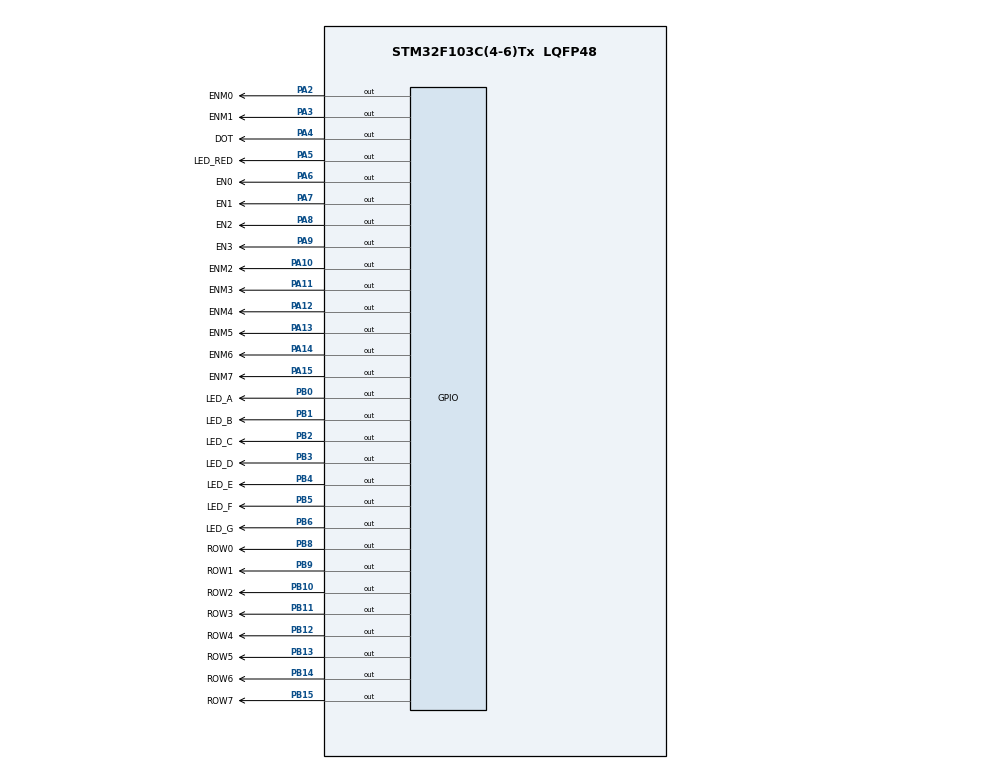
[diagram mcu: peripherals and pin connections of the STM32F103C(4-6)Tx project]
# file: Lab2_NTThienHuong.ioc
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Mcu.Family=STM32F1
Mcu.Name=STM32F103C(4-6)Tx
Mcu.Package=LQFP48
NVIC.PriorityGroup=NVIC_PRIORITYGROUP_4
NVIC.TIM2_IRQn=true\:0\:0\:false\:false\:true\:true\:true\:true
PA10.GPIO_Label=ENM2
PA10.Signal=GPIO_Output
PA11.GPIO_Label=ENM3
PA11.Signal=GPIO_Output
PA12.GPIO_Label=ENM4
PA12.Signal=GPIO_Output
PA13.GPIO_Label=ENM5
PA13.Signal=GPIO_Output
PA14.GPIO_Label=ENM6
PA14.Signal=GPIO_Output
PA15.GPIO_Label=ENM7
PA15.Signal=GPIO_Output
PA2.GPIO_Label=ENM0
PA2.GPIO_PuPd=GPIO_NOPULL
PA2.Signal=GPIO_Output
PA3.GPIO_Label=ENM1
PA3.Signal=GPIO_Output
PA4.GPIO_Label=DOT
PA4.Signal=GPIO_Output
PA5.GPIO_Label=LED_RED
PA5.Signal=GPIO_Output
PA6.GPIO_Label=EN0
PA6.Signal=GPIO_Output
PA7.GPIO_Label=EN1
PA7.Signal=GPIO_Output
PA8.GPIO_Label=EN2
PA8.Signal=GPIO_Output
PA9.GPIO_Label=EN3
PA9.Signal=GPIO_Output
PB0.GPIO_Label=LED_A
PB0.Signal=GPIO_Output
PB1.GPIO_Label=LED_B
PB1.Signal=GPIO_Output
PB10.GPIO_Label=ROW2
PB10.Signal=GPIO_Output
PB11.GPIO_Label=ROW3
PB11.Signal=GPIO_Output
PB12.GPIO_Label=ROW4
PB12.Signal=GPIO_Output
PB13.GPIO_Label=ROW5
PB13.Signal=GPIO_Output
PB14.GPIO_Label=ROW6
PB14.Signal=GPIO_Output
PB15.GPIO_Label=ROW7
PB15.Signal=GPIO_Output
PB2.GPIO_Label=LED_C
PB2.Signal=GPIO_Output
PB3.GPIO_Label=LED_D
PB3.Signal=GPIO_Output
PB4.GPIO_Label=LED_E
PB4.Signal=GPIO_Output
PB5.GPIO_Label=LED_F
PB5.Signal=GPIO_Output
PB6.GPIO_Label=LED_G
PB6.Signal=GPIO_Output
PB8.GPIO_Label=ROW0
PB8.Signal=GPIO_Output
PB9.GPIO_Label=ROW1
PB9.Signal=GPIO_Output
ProjectManager.HeapSize=0x200
ProjectManager.StackSize=0x400
ProjectManager.TargetToolchain=STM32CubeIDE
RCC.APB1Freq_Value=8000000
RCC.APB2Freq_Value=8000000
TIM2.Period=9
TIM2.Prescaler=7999
VP_SYS_VS_ND.Mode=No_Debug
VP_TIM2_VS_ClockSourceINT.Mode=Internal
board=custom

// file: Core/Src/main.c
/* USER CODE BEGIN Header */
/**
  ******************************************************************************
  * @file           : main.c
  * @brief          : Main program body
  ******************************************************************************
  * @attention
  *
  * Copyright (c) 2024 STMicroelectronics.
  * All rights reserved.
  *
  * This software is licensed under terms that can be found in the LICENSE file
  * in the root directory of this software component.
  * If no LICENSE file comes with this software, it is provided AS-IS.
  *
  ******************************************************************************
  */
/* USER CODE END Header */
#include "main.h"

/* USER CODE BEGIN Includes */
#include "software_timer.h"
#include "linkedList.h"
/* USER CODE END Includes */

TIM_HandleTypeDef htim2;
const int MAX_LED = 4;
int index_led = 0;
int led_buffer [4] = {1 , 2 , 3 , 4};
int hour = 15 , minute = 8 , second = 50;

void SystemClock_Config(void);
static void MX_GPIO_Init(void);
static void MX_TIM2_Init(void);
void update7SEG (int index);
void display7SEG(int k);
void updateClockBuffer();
void controlColumns (int value);

/* USER CODE BEGIN 0 */
void update7SEG(int index) {
    static const unsigned char segValues[10] = {
        0b11111100,  // 0
        0b01100000,  // 1
        0b11011010,  // 2
        0b11110010,  // 3
        0b01100110,  // 4
        0b10110110,  // 5
        0b10111110,  // 6
        0b11100000,  // 7
        0b11111110,  // 8
        0b11110110   // 9
    };

    if (index > 3) {
        index_led = 0;
        index = 0;
    }

    controlColumns(index);
    GPIOB->ODR = (GPIOB->ODR & 0xFF00) | segValues[led_buffer[index]];
}
void updateClockBuffer(){
	  second ++;
	  	if ( second >= 60) {
	  		second = 0;
	  		minute++;
	  	}
	  	if (minute >= 60){
	  		minute =0;
	  		hour++;
	  	}
	  	if (hour >= 24){
	  		hour=0;
	  	}

	led_buffer[0] = hour / 10;
	led_buffer[1] =	hour %10;
	led_buffer[2] = minute / 10;
	led_buffer[3] = minute % 10;
}
void display7SEG(int k){
	switch (k){
	case 0:
		  HAL_GPIO_WritePin(GPIOB, LED_A_Pin|LED_B_Pin|LED_C_Pin|LED_D_Pin
		                          |LED_E_Pin|LED_F_Pin|LED_G_Pin, GPIO_PIN_RESET);

		  HAL_GPIO_WritePin(GPIOB, LED_G_Pin, GPIO_PIN_SET);
		break;
	case 1:
		  HAL_GPIO_WritePin(GPIOB, LED_B_Pin|LED_C_Pin, GPIO_PIN_RESET);

		  HAL_GPIO_WritePin(GPIOB, LED_A_Pin|LED_D_Pin
		                          |LED_E_Pin|LED_F_Pin|LED_G_Pin, GPIO_PIN_SET);
		break;
	case 2:
		  HAL_GPIO_WritePin(GPIOB, LED_A_Pin|LED_B_Pin | LED_D_Pin
		                          |LED_E_Pin|LED_G_Pin, GPIO_PIN_RESET);

		  HAL_GPIO_WritePin(GPIOB,LED_C_Pin|LED_F_Pin, GPIO_PIN_SET);
		break;
	case 3:
		  HAL_GPIO_WritePin(GPIOB, LED_A_Pin|LED_B_Pin|LED_C_Pin|LED_D_Pin
		                          |LED_G_Pin, GPIO_PIN_RESET);
		  HAL_GPIO_WritePin(GPIOB, LED_E_Pin|LED_F_Pin, GPIO_PIN_SET);
		break;
	case 4:
		  HAL_GPIO_WritePin(GPIOB, LED_B_Pin|LED_C_Pin |LED_F_Pin|LED_G_Pin, GPIO_PIN_RESET);

		  HAL_GPIO_WritePin(GPIOB, LED_A_Pin|LED_D_Pin|LED_E_Pin, GPIO_PIN_SET);
		break;
	case 5:
		  HAL_GPIO_WritePin(GPIOB, LED_A_Pin|LED_C_Pin|LED_D_Pin
		                          |LED_F_Pin|LED_G_Pin, GPIO_PIN_RESET);

		  HAL_GPIO_WritePin(GPIOB,LED_B_Pin|LED_E_Pin, GPIO_PIN_SET);
		break;
	case 6:
		  HAL_GPIO_WritePin(GPIOB,LED_B_Pin, GPIO_PIN_SET);

		  HAL_GPIO_WritePin(GPIOB, LED_A_Pin|LED_C_Pin|LED_D_Pin
		                          |LED_E_Pin|LED_F_Pin|LED_G_Pin, GPIO_PIN_RESET);

		break;
	case 7:
		  HAL_GPIO_WritePin(GPIOB, LED_A_Pin|LED_B_Pin|LED_C_Pin , GPIO_PIN_RESET);

		  HAL_GPIO_WritePin(GPIOB, LED_D_Pin |LED_E_Pin|LED_F_Pin|LED_G_Pin, GPIO_PIN_SET);
		break;
	case 8:
		  HAL_GPIO_WritePin(GPIOB, LED_A_Pin|LED_B_Pin|LED_C_Pin|LED_D_Pin
		                          |LED_E_Pin|LED_F_Pin|LED_G_Pin, GPIO_PIN_RESET);
		break;
	case 9:
		  HAL_GPIO_WritePin(GPIOB, LED_A_Pin|LED_B_Pin|LED_C_Pin|LED_D_Pin
		                          |LED_E_Pin|LED_F_Pin|LED_G_Pin, GPIO_PIN_RESET);

		  HAL_GPIO_WritePin(GPIOB, LED_E_Pin, GPIO_PIN_SET);
		break;
	default:
		  HAL_GPIO_WritePin(GPIOB, LED_A_Pin|LED_B_Pin|LED_C_Pin|LED_D_Pin
		                          |LED_E_Pin|LED_F_Pin|LED_G_Pin, GPIO_PIN_RESET);
	}
}
void controlColumns (int value){
	switch (value){
		case 0:
			HAL_GPIO_WritePin(GPIOA, ENM0_Pin, GPIO_PIN_SET);
			HAL_GPIO_WritePin(GPIOA, ENM1_Pin|ENM2_Pin|ENM3_Pin|ENM4_Pin|ENM5_Pin
			  	                          |ENM6_Pin|ENM7_Pin, GPIO_PIN_RESET);
			break;
		case 1:
			HAL_GPIO_WritePin(GPIOA, ENM1_Pin, GPIO_PIN_SET);
			HAL_GPIO_WritePin(GPIOA, ENM0_Pin|ENM2_Pin|ENM3_Pin|ENM4_Pin|ENM5_Pin
			  	                          |ENM6_Pin|ENM7_Pin, GPIO_PIN_RESET);
			break;
		case 2:
			HAL_GPIO_WritePin(GPIOA, ENM2_Pin, GPIO_PIN_SET);
			HAL_GPIO_WritePin(GPIOA, ENM0_Pin|ENM1_Pin|ENM3_Pin|ENM4_Pin|ENM5_Pin
			  	                          |ENM6_Pin|ENM7_Pin, GPIO_PIN_RESET);
			break;
		case 3:
			HAL_GPIO_WritePin(GPIOA, ENM3_Pin, GPIO_PIN_SET);
			HAL_GPIO_WritePin(GPIOA, ENM0_Pin|ENM1_Pin|ENM2_Pin|ENM4_Pin|ENM5_Pin
			  	                          |ENM6_Pin|ENM7_Pin, GPIO_PIN_RESET);
			break;
		case 4:
			HAL_GPIO_WritePin(GPIOA, ENM4_Pin, GPIO_PIN_SET);
			HAL_GPIO_WritePin(GPIOA, ENM0_Pin|ENM1_Pin|ENM2_Pin|ENM3_Pin|ENM5_Pin
			  	                          |ENM6_Pin|ENM7_Pin, GPIO_PIN_RESET);
			break;
		case 5:
			HAL_GPIO_WritePin(GPIOA, ENM5_Pin, GPIO_PIN_SET);
			HAL_GPIO_WritePin(GPIOA, ENM0_Pin|ENM1_Pin|ENM2_Pin|ENM3_Pin|ENM4_Pin
			  	                          |ENM6_Pin|ENM7_Pin, GPIO_PIN_RESET);
			break;
		case 6:
			HAL_GPIO_WritePin(GPIOA, ENM6_Pin, GPIO_PIN_SET);
			HAL_GPIO_WritePin(GPIOA, ENM0_Pin|ENM1_Pin|ENM2_Pin|ENM3_Pin|ENM4_Pin|ENM5_Pin
			  	                          |ENM7_Pin, GPIO_PIN_RESET);
			break;
		case 7:
			HAL_GPIO_WritePin(GPIOA, ENM7_Pin, GPIO_PIN_SET);
			HAL_GPIO_WritePin(GPIOA, ENM0_Pin|ENM1_Pin|ENM2_Pin|ENM3_Pin|ENM4_Pin|ENM5_Pin
			  	                          |ENM6_Pin, GPIO_PIN_RESET);
			break;
		default:
			HAL_GPIO_WritePin(GPIOA, ENM0_Pin|ENM1_Pin|ENM2_Pin|ENM3_Pin|ENM4_Pin|ENM5_Pin
			  	                          |ENM6_Pin |ENM7_Pin, GPIO_PIN_RESET);
			break;
	}
}
void controlRows (int value){
	switch (value){
		case 0:
	  		  HAL_GPIO_WritePin(GPIOB, ROW0_Pin , SET);
			break;
		case 1:
	  		  HAL_GPIO_WritePin(GPIOB, ROW1_Pin , SET);

			break;
		case 2:
	  		  HAL_GPIO_WritePin(GPIOB, ROW2_Pin , SET);

			break;
		case 3:
	  		  HAL_GPIO_WritePin(GPIOB, ROW3_Pin , SET);

			break;
		case 4:
	  		  HAL_GPIO_WritePin(GPIOB, ROW4_Pin , SET);

			break;
		case 5:
	  		  HAL_GPIO_WritePin(GPIOB, ROW5_Pin , SET);

			break;
		case 6:
	  		  HAL_GPIO_WritePin(GPIOB, ROW6_Pin , SET);

			break;
		case 7:
	  		  HAL_GPIO_WritePin(GPIOB, ROW7_Pin , SET);
			break;
		default:
	  		  HAL_GPIO_WritePin(GPIOB, ROW0_Pin |ROW1_Pin | ROW2_Pin | ROW3_Pin | ROW4_Pin |
	  				  ROW5_Pin| ROW6_Pin |ROW7_Pin , RESET);
			break;
	}
}

/* USER CODE END 0 */

int main(void)
{

  /* MCU Configuration--------------------------------------------------------*/

  /* Reset of all peripherals, Initializes the Flash interface and the Systick. */
  HAL_Init();

  /* USER CODE BEGIN Init */

  int i=7;
  int character_A[8][8] = {{0,0,0,1,1,0,0,0},{0,0,1,1,1,1,0,0},{0,1,1,0,0,1,1,0},{0,1,1,0,0,1,1,0},
    		  {0,1,1,1,1,1,1,0},{0,1,1,1,1,1,1,0},{0,1,1,0,0,1,1,0},{0,1,1,0,0,1,1,0}};
//    int character_A[8][8] = {{0,1,1,0,0,1,1,0},{0,1,1,0,0,1,1,0},{0,1,1,1,1,1,1,0},{0,1,1,1,1,1,1,0},
//    		{0,1,1,0,0,1,1,0},{0,1,1,0,0,1,1,0},{0,0,1,1,1,1,0,0},{0,0,0,1,1,0,0,0}};

  Node* head[8] = { NULL };

  for (int i = 0; i < 8; i++) {
      for (int j = 0; j < 8; j++) {
          insertAtEnd(&head[i], character_A[i][j]);
      }
      connectEndToFirst(&head[i]);
  }

  Node* temp = head[i];
  /* USER CODE END Init */

  /* Configure the system clock */
  SystemClock_Config();

  /* Initialize all configured peripherals */
  MX_GPIO_Init();
  MX_TIM2_Init();
  /* USER CODE BEGIN 2 */
  HAL_TIM_Base_Start_IT(&htim2);

  /* USER CODE END 2 */

  /* Infinite loop */
  /* USER CODE BEGIN WHILE */
  setTimer0(100);
  setTimer1(1000);
  setTimer2(500);
  setTimer3(10);

  // ngat timer goi 10ms moi lan => 10x100 = 1000ms = 1s
  while (1)
      {
  	  /* USER CODE END WHILE */
	  	  // update hour minute and second
		  if (timer0_flag == 1 ){
				updateClockBuffer();
				setTimer0(100);
		  }
		  // LED PA5 and DOT
    	  if (timer1_flag == 1){

    		  HAL_GPIO_TogglePin(GPIOA,LED_RED_Pin);
    		  HAL_GPIO_TogglePin(GPIOA,DOT_Pin);
    		  setTimer1(1000);
    	  }
    	  // update buffer to 7seg
    	  if (timer2_flag == 1){
    		  update7SEG(index_led++);
    		  setTimer2(500);
    	  }
    	  // led matrix
    	  if (timer3_flag == 1){
    		  	 // turn of all led row
				controlRows(-1);
				// turn on i column
    	 		controlColumns(i);

    	 		 for (int j = 0; j < 8; j++) {
    	 	    	if (temp->data == 1){
    	 	    			controlRows(j);
    	 	    	}
    	 	    	temp = temp->next;
    	 		  }

    	 		 // update led matrix
    	 		 head[i] = head[i]->next;

    	 	     i--;
    	 	     if (i == -1) {
    	 	    	 i = 7;
    	 	     }
    	 	     temp = head[i];

    	  	setTimer3(10);
    	  }

// 	    HAL_Delay(1);
      }
}
void SystemClock_Config(void)
{
  RCC_OscInitTypeDef RCC_OscInitStruct = {0};
  RCC_ClkInitTypeDef RCC_ClkInitStruct = {0};

  /** Initializes the RCC Oscillators according to the specified parameters
  * in the RCC_OscInitTypeDef structure.
  */
  RCC_OscInitStruct.OscillatorType = RCC_OSCILLATORTYPE_HSI;
  RCC_OscInitStruct.HSIState = RCC_HSI_ON;
  RCC_OscInitStruct.HSICalibrationValue = RCC_HSICALIBRATION_DEFAULT;
  RCC_OscInitStruct.PLL.PLLState = RCC_PLL_NONE;
  if (HAL_RCC_OscConfig(&RCC_OscInitStruct) != HAL_OK)
  {
    Error_Handler();
  }

  /** Initializes the CPU, AHB and APB buses clocks
  */
  RCC_ClkInitStruct.ClockType = RCC_CLOCKTYPE_HCLK|RCC_CLOCKTYPE_SYSCLK
                              |RCC_CLOCKTYPE_PCLK1|RCC_CLOCKTYPE_PCLK2;
  RCC_ClkInitStruct.SYSCLKSource = RCC_SYSCLKSOURCE_HSI;
  RCC_ClkInitStruct.AHBCLKDivider = RCC_SYSCLK_DIV1;
  RCC_ClkInitStruct.APB1CLKDivider = RCC_HCLK_DIV1;
  RCC_ClkInitStruct.APB2CLKDivider = RCC_HCLK_DIV1;

  if (HAL_RCC_ClockConfig(&RCC_ClkInitStruct, FLASH_LATENCY_0) != HAL_OK)
  {
    Error_Handler();
  }
}

static void MX_TIM2_Init(void)
{

  TIM_ClockConfigTypeDef sClockSourceConfig = {0};
  TIM_MasterConfigTypeDef sMasterConfig = {0};

  htim2.Instance = TIM2;
  htim2.Init.Prescaler = 7999;
  htim2.Init.CounterMode = TIM_COUNTERMODE_UP;
  htim2.Init.Period = 9;
  htim2.Init.ClockDivision = TIM_CLOCKDIVISION_DIV1;
  htim2.Init.AutoReloadPreload = TIM_AUTORELOAD_PRELOAD_DISABLE;
  if (HAL_TIM_Base_Init(&htim2) != HAL_OK)
  {
    Error_Handler();
  }
  sClockSourceConfig.ClockSource = TIM_CLOCKSOURCE_INTERNAL;
  if (HAL_TIM_ConfigClockSource(&htim2, &sClockSourceConfig) != HAL_OK)
  {
    Error_Handler();
  }
  sMasterConfig.MasterOutputTrigger = TIM_TRGO_RESET;
  sMasterConfig.MasterSlaveMode = TIM_MASTERSLAVEMODE_DISABLE;
  if (HAL_TIMEx_MasterConfigSynchronization(&htim2, &sMasterConfig) != HAL_OK)
  {
    Error_Handler();
  }

}

static void MX_GPIO_Init(void)
{
  GPIO_InitTypeDef GPIO_InitStruct = {0};

  /* GPIO Ports Clock Enable */
  __HAL_RCC_GPIOA_CLK_ENABLE();
  __HAL_RCC_GPIOB_CLK_ENABLE();

  /*Configure GPIO pin Output Level */
  HAL_GPIO_WritePin(GPIOA, ENM0_Pin|ENM1_Pin|DOT_Pin|LED_RED_Pin
                          |EN0_Pin|EN1_Pin|EN2_Pin|EN3_Pin
                          |ENM2_Pin|ENM3_Pin|ENM4_Pin|ENM5_Pin
                          |ENM6_Pin|ENM7_Pin, GPIO_PIN_RESET);

  /*Configure GPIO pin Output Level */
  HAL_GPIO_WritePin(GPIOB, LED_A_Pin|LED_B_Pin|LED_C_Pin|ROW2_Pin
                          |ROW3_Pin|ROW4_Pin|ROW5_Pin|ROW6_Pin
                          |ROW7_Pin|LED_D_Pin|LED_E_Pin|LED_F_Pin
                          |LED_G_Pin|ROW0_Pin|ROW1_Pin, GPIO_PIN_RESET);

  /*Configure GPIO pins : ENM0_Pin ENM1_Pin DOT_Pin LED_RED_Pin
                           EN0_Pin EN1_Pin EN2_Pin EN3_Pin
                           ENM2_Pin ENM3_Pin ENM4_Pin ENM5_Pin
                           ENM6_Pin ENM7_Pin */
  GPIO_InitStruct.Pin = ENM0_Pin|ENM1_Pin|DOT_Pin|LED_RED_Pin
                          |EN0_Pin|EN1_Pin|EN2_Pin|EN3_Pin
                          |ENM2_Pin|ENM3_Pin|ENM4_Pin|ENM5_Pin
                          |ENM6_Pin|ENM7_Pin;
  GPIO_InitStruct.Mode = GPIO_MODE_OUTPUT_PP;
  GPIO_InitStruct.Pull = GPIO_NOPULL;
  GPIO_InitStruct.Speed = GPIO_SPEED_FREQ_LOW;
  HAL_GPIO_Init(GPIOA, &GPIO_InitStruct);

  /*Configure GPIO pins : LED_A_Pin LED_B_Pin LED_C_Pin ROW2_Pin
                           ROW3_Pin ROW4_Pin ROW5_Pin ROW6_Pin
                           ROW7_Pin LED_D_Pin LED_E_Pin LED_F_Pin
                           LED_G_Pin ROW0_Pin ROW1_Pin */
  GPIO_InitStruct.Pin = LED_A_Pin|LED_B_Pin|LED_C_Pin|ROW2_Pin
                          |ROW3_Pin|ROW4_Pin|ROW5_Pin|ROW6_Pin
                          |ROW7_Pin|LED_D_Pin|LED_E_Pin|LED_F_Pin
                          |LED_G_Pin|ROW0_Pin|ROW1_Pin;
  GPIO_InitStruct.Mode = GPIO_MODE_OUTPUT_PP;
  GPIO_InitStruct.Pull = GPIO_NOPULL;
  GPIO_InitStruct.Speed = GPIO_SPEED_FREQ_LOW;
  HAL_GPIO_Init(GPIOB, &GPIO_InitStruct);

}

/* USER CODE BEGIN 4 */

void HAL_TIM_PeriodElapsedCallback(TIM_HandleTypeDef *htim){
	timerRun();

}
/* USER CODE END 4 */

void Error_Handler(void)
{
  __disable_irq();
  while (1)
  {
  }
}
